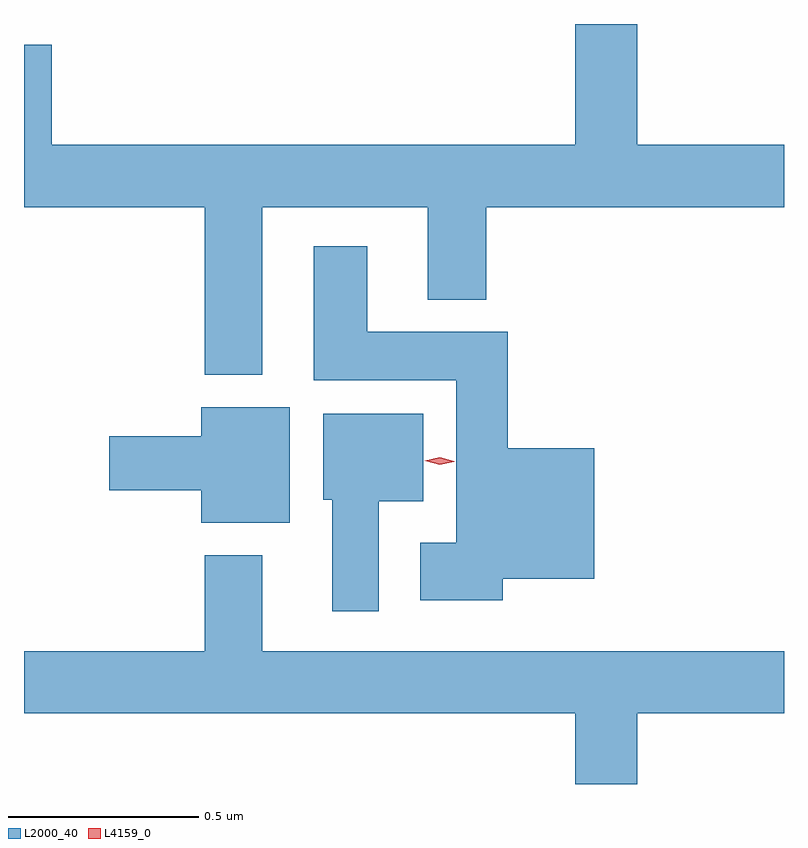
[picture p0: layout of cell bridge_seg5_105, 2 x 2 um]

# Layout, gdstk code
import gdstk
lib = gdstk.Library(unit=1e-6, precision=1e-09)
def P(c, l, *ps):  # polygons
    for p in ps: c.add(gdstk.Polygon(p, *l))
L2000_40 = (2000, 40)
L4159_0 = (4159, 0)

bridge_seg5_105 = lib.new_cell('bridge_seg5_105')
P(bridge_seg5_105, L2000_40, [(523.825,847.436),(524.261,847.436),(524.261,847.193),(524.414,847.193),(524.414,847.436),(525.198,847.436),(525.198,847.6),(524.812,847.6),(524.812,847.918),(524.648,847.918),(524.648,847.6),(523.271,847.6),(523.271,847.864),(523.198,847.864),(523.198,847.436),(523.673,847.436),(523.673,846.995),(523.825,846.995)],
  [(524.458,846.458),(524.698,846.458),(524.698,846.802),(524.471,846.802),(524.471,847.108),(524.101,847.108),(524.101,847.333),(523.961,847.333),(523.961,846.98),(524.336,846.98),(524.336,846.553),(524.241,846.553),(524.241,846.401),(524.458,846.401)],
  [(523.897,846.91),(523.664,846.91),(523.664,846.833),(523.422,846.833),(523.422,846.691),(523.664,846.691),(523.664,846.605),(523.897,846.605)],
  [(524.131,846.662),(524.248,846.662),(524.248,846.892),(523.985,846.892),(523.985,846.666),(524.009,846.666),(524.009,846.372),(524.131,846.372)],
  [(524.812,846.104),(525.198,846.104),(525.198,846.268),(523.825,846.268),(523.825,846.52),(523.673,846.52),(523.673,846.268),(523.198,846.268),(523.198,846.104),(524.648,846.104),(524.648,845.918),(524.812,845.918)])
P(bridge_seg5_105, L4159_0, [(524.292,846.758),(524.253,846.769),(524.253,846.769),(524.253,846.769),(524.292,846.778),(524.33,846.767),(524.33,846.766),(524.33,846.766)])

lib.write_gds('bridge_seg5_105.gds')
